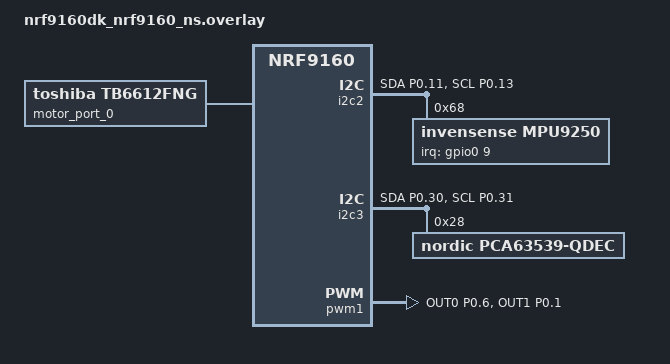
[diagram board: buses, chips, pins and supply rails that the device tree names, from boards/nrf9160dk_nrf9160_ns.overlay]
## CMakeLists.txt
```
# Copyright (c) 2022 Nordic Semiconductor
#
# SPDX-License-Identifier: LicenseRef-Nordic-5-Clause
#

cmake_minimum_required(VERSION 3.20.0)
set(BOARD nrf9160dk_nrf9160_ns)
set(APPLICATION_CONFIG_DIR "configuration/\${BOARD}")
find_package(Zephyr REQUIRED HINTS $ENV{ZEPHYR_BASE})
project("Balancing Robot")

# Application sources
# NORDIC SDK APP START
target_sources(app PRIVATE src/main.c)
# NORDIC SDK APP END

# Include application events and configuration headers
zephyr_library_include_directories(
  src/events
  src/util
  )

zephyr_include_directories(
  configuration/${BOARD}
  )
# Include source directory
target_include_directories(app PRIVATE src)

# Application directories
add_subdirectory(src/modules)
add_subdirectory(src/events)
add_subdirectory(src/util)
add_subdirectory(drivers)
```

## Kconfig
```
#
# Copyright (c) 2022 Nordic Semiconductor ASA
#
# SPDX-License-Identifier: LicenseRef-Nordic-5-Clause
#

menu "Balancing Robot"
rsource "src/modules/Kconfig"

rsource "src/events/Kconfig"

rsource "src/util/Kconfig"

rsource "drivers/Kconfig"
endmenu

menu "Zephyr Kernel"
source "Kconfig.zephyr"
endmenu

module = APPLICATION_MODULE
module-str = Application module
source "subsys/logging/Kconfig.template.log_config"
```

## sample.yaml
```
#
# Copyright (c) 2019 Nordic Semiconductor ASA
#
# SPDX-License-Identifier: Apache-2.0
#

sample:
  name: MPU6050 Sensor Sample
tests:
  sample.sensor.mpu6050:
    build_only: true
    platform_allow: nrf52dk_nrf52832
    tags: sensors
    integration_platforms:
      - nrf52dk_nrf52832
      - nrf9160dk_nrf9160_ns
```

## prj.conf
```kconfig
#
# Copyright (c) 2022 Nordic Semiconductor ASA
#
# SPDX-License-Identifier: Apache-2.0
#

# DEBUGGING
CONFIG_DEBUG=n
CONFIG_DEBUG_OPTIMIZATIONS=n

CONFIG_I2C=y
CONFIG_SENSOR=y
CONFIG_MPU9250=y
CONFIG_MPU9250_TRIGGER_NONE=y
CONFIG_CBPRINTF_FP_SUPPORT=y
# CONFIG_SENSOR_LOG_LEVEL_WRN=y

# Discrete Signal Processing Maths (for PID)
CONFIG_CMSIS_DSP=y
CONFIG_CMSIS_DSP_CONTROLLER=y

# PID Controller Tuning
CONFIG_PITCH_INTEGRATION_LIMITS=30
CONFIG_ANGLE_FAILSAFE_LIMIT=60
CONFIG_STATIC_SET_POINT_PITCH=-91
# CONFIG_KP_PITCH=4500
# CONFIG_KI_PITCH=10
# CONFIG_KD_PITCH=50

CONFIG_KP_SPEED=0
CONFIG_KI_SPEED=0
CONFIG_KD_SPEED=0

# zscilib (for orientation)
CONFIG_ZSL=y

CONFIG_NEWLIB_LIBC=y
CONFIG_FPU=y
#Set CONFIG_NEWLIB_LIBC_FLOAT_PRINTF if  printf should be able to print float
CONFIG_NEWLIB_LIBC_FLOAT_PRINTF=y

# Modules
CONFIG_IMU_MODULE=y

CONFIG_IMU_MESSAGE_FREQUENCY=10000
CONFIG_QDEC_MESSAGE_FREQUENCY=5000
CONFIG_QDEC_MODULE=y
# Motor driver
CONFIG_PWM=y
CONFIG_TB6612FNG=y
# CONFIG_SENSOR_LOG_LEVEL_DBG=y
# CONFIG_TB6612FNG_DRIVER_LOG_LEVEL_DBG=y
# CONFIG_TB6612FNG_MOTOR_DRIVER_LOG_LEVEL_DBG=y

CONFIG_QDEC_PCA63539=y
CONFIG_SENSOR=y
CONFIG_I2C=y

## Event manager configurations

# Enabling assert
CONFIG_ASSERT=y

# Logger configuration
CONFIG_LOG=y
CONFIG_LOG_DEFAULT_LEVEL=4
CONFIG_LOG_MODE_IMMEDIATE=y
# CONFIG_CONTROLLER_MODULE_LOG_LEVEL_DBG=y

# Configuration required by Event Manager
CONFIG_APP_EVENT_MANAGER=y
CONFIG_REBOOT=y

# Heap and stacks
CONFIG_HEAP_MEM_POOL_SIZE=32768
CONFIG_MAIN_STACK_SIZE=1280
CONFIG_SYSTEM_WORKQUEUE_STACK_SIZE=4096
CONFIG_HW_STACK_PROTECTION=y

# CAF - Common Application Framework
CONFIG_CAF=y
CONFIG_CAF_INIT_LOG_MODULE_STATE_EVENTS=n
```

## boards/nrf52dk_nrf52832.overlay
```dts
/*
 * Copyright (c) 2022 Nordic Semiconductor ASA
 *
 * SPDX-License-Identifier: Apache-2.0
 */

&i2c0 {
	mpu6050@68 {
		compatible = "invensense,mpu6050";
		reg = <0x68>;
		status = "okay";
		label = "MPU6050";
		int-gpios = <&gpio0 11 GPIO_ACTIVE_HIGH>;
	};
};
```

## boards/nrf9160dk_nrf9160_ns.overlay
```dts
/*
 * Copyright (c) 2022 Nordic Semiconductor ASA
 *
 * SPDX-License-Identifier: Apache-2.0
 */
 &spi3 {
	status = "disabled";
 };
 &button3 {
	status="disabled";
 };
 
 
&i2c2 {
	status = "okay";
	compatible = "nordic,nrf-twim";
	pinctrl-0 = <&i2c2_default_alt>;
	pinctrl-1 = <&i2c2_sleep_alt>;
	mpu9250: mpu9250@68 {
		compatible = "invensense,mpu9250";
		reg = <0x68>;
		label = "MPU9250";
		gyro-sr-div = <0>;
		// TODO: tune dlpfs
		gyro-dlpf = <10>;
		gyro-fs = <1000>;
		accel-fs = <8>;
		accel-dlpf = "21.2";
		irq-gpios = <&gpio0 9 GPIO_ACTIVE_HIGH>;
	};
};

&i2c3 {
	compatible = "nordic,nrf-twim";
	status = "okay";
	pinctrl-0 = <&i2c3_default_alt>;
	pinctrl-1 = <&i2c3_sleep_alt>;
	pinctrl-names = "default", "sleep";
	shield_qdec: pca63539-qdec@28 {
		compatible = "nordic,pca63539-qdec";
		label = "PCA63539-QDEC";
		reg = <0x28>;
	};
};

&pwm1 {
	status = "okay";
	pinctrl-0 = <&pwm1_default_alt>;
	pinctrl-1 = <&pwm1_sleep_alt>;
	pinctrl-names = "default", "sleep";
};

/ {
	aliases {
		accelerometer = &mpu9250;
		gyroscope = &mpu9250;
		magnetometer = &mpu9250;
		motora = &motor_0_a;
		motorb = &motor_0_b;
	};
	motor_port0: motor_port0{
		compatible = "toshiba,tb6612fng";
		status = "okay";
		label = "motor_port_0";

		motor_0_a: motor_a {
			compatible = "toshiba,tb6612fng-motor";
			status = "okay";
			label = "motorA";
			pwms = <&pwm1 0 PWM_MSEC(20) PWM_POLARITY_NORMAL>;
			input1-gpios = <&gpio0 4 0>;
			input2-gpios = <&gpio0 5 0>;
		};

		motor_0_b: motor_b {
			compatible = "toshiba,tb6612fng-motor";
			status = "okay";
			label = "motorB";
			pwms = <&pwm1 1 PWM_MSEC(20) PWM_POLARITY_NORMAL>;
			input1-gpios = <&gpio0 3 0>;
			input2-gpios = <&gpio0 2 0>;
		};
	};
};


&pinctrl {
	i2c2_default_alt: i2c2_default_alt {
		group1 {
			psels = <NRF_PSEL(TWIM_SDA, 0, 11)>,
					<NRF_PSEL(TWIM_SCL, 0, 13)>;
					bias-pull-up;
		};
	};
	i2c2_sleep_alt: i2c2_sleep_alt {
		group1 {
			psels = <NRF_PSEL(TWIM_SDA, 0, 11)>,
					<NRF_PSEL(TWIM_SCL, 0, 13)>;
					bias-pull-up;
		};
	};

	i2c3_default_alt: i2c3_default_alt {
		group1 {
			psels = <NRF_PSEL(TWIM_SDA, 0, 30)>,
					<NRF_PSEL(TWIM_SCL, 0, 31)>;
					bias-pull-up;
		};
	};

	i2c3_sleep_alt: i2c3_sleep_alt {
		group1 {
			psels = <NRF_PSEL(TWIM_SDA, 0, 30)>,
					<NRF_PSEL(TWIM_SCL, 0, 31)>;
					bias-pull-up;
		};
	};
	
	pwm1_default_alt: pwm1_default_alt {
		group1 {
			psels = <NRF_PSEL(PWM_OUT0, 0, 6)>,
					<NRF_PSEL(PWM_OUT1, 0, 1)>;
		};
	};
	pwm1_sleep_alt: pwm1_sleep_alt {
		group1 {
			psels = <NRF_PSEL(PWM_OUT0, 0, 6)>,
					<NRF_PSEL(PWM_OUT1, 0, 1)>;
			low-power-enable;
		};
	};
};
```

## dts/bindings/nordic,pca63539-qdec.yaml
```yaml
description: |
  Quadrature decoder on the pca63539 balancing robot shield.
compatible: "nordic,pca63539-qdec"

include: "i2c-device.yaml"
```

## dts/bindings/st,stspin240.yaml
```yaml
# Bindings for STMicroelectronics STSPIN240 dual brushed dc driver

compatible: "st,stspin240"
description: "Dual brushed DC motor driver"

include: "base.yaml"

properties:
  enable_fault-gpios: 
    type: phandle-array
    required: false
    description: "Enables the device when set high, indicates fault when pulled low by the driver IC"
  
  standby_reset-gpios:
    type: phandle-array
    required: false
    description: "Forces device into low consumption mode when forced low."
  
child-binding:
  compatible: "st,stspin240-motor"
  description: Brushed DC Motor driven by st,stspin240

  include: "base.yaml"

  properties:
    pwms:
      type: phandle-array
      required: true
      description: "Motor power pwm."
    
    phase-gpios:
      type: phandle-array
      required: true
      description: "Motor phase control pin. Used to set the direction of the motor."
```

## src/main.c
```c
/*
 * Copyright (c) 2022 Nordic Semiconductor ASA
 *
 * SPDX-License-Identifier: LicenseRef-Nordic-5-Clause
 */
#include <app_event_manager.h>

#define MODULE main
#include <caf/events/module_state_event.h>

#include <zephyr/logging/log.h>
LOG_MODULE_REGISTER(MODULE);

void main(void)
{
	if (app_event_manager_init())
	{
		LOG_ERR("Event manager not initialized");
	}
	else
	{
		module_set_state(MODULE_STATE_READY);
	}
}
```

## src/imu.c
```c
/*
 * Copyright (c) 2019 Nordic Semiconductor ASA
 *
 * SPDX-License-Identifier: Apache-2.0
 */

#include <zephyr.h>
#include <device.h>
#include <drivers/sensor.h>
#include <stdio.h>


// typedef struct
// {
// 	short gyro[3];
// 	short accel[3];
// 	long quat[4];
// 	float rpy[3];
// 	unsigned long timestamp;
// 	short sensors;
// 	unsigned char more;
// } FIFO_t;

static const char *now_str(void)
{
	static char buf[16]; /* ...HH:MM:SS.MMM */
	uint32_t now = k_uptime_get_32();
	unsigned int ms = now % MSEC_PER_SEC;
	unsigned int s;
	unsigned int min;
	unsigned int h;

	now /= MSEC_PER_SEC;
	s = now % 60U;
	now /= 60U;
	min = now % 60U;
	now /= 60U;
	h = now;

	snprintf(buf, sizeof(buf), "%u:%02u:%02u.%03u",
		 h, min, s, ms);
	return buf;
}

static int process_mpu9250(const struct device *dev)
{
	// struct sensor_value temperature;
	struct sensor_value accel[3];
	struct sensor_value gyro[3];
	struct sensor_value magn[3];

	int rc = sensor_sample_fetch(dev);
	if (rc != 0) {
		printf("Sample fetch failed: %d\n", rc);
		return rc;
	}
	rc = sensor_channel_get(dev, SENSOR_CHAN_ACCEL_XYZ,
							accel);
	if (rc != 0) {
		printf("sensor acc channel get failed: %d\n", rc);
		return rc;
	}

	rc = sensor_channel_get(dev, SENSOR_CHAN_GYRO_XYZ,
							gyro);
	if (rc != 0) {
		printf("sensor gyro channel get failed: %d\n", rc);
		return rc;
	}

	rc = sensor_channel_get(dev, SENSOR_CHAN_MAGN_XYZ,
							magn);
	if (rc != 0)
	{
		printf("sensor magn channel get failed: %d\n", rc);
		return rc;
	}

	// if (rc == 0) {
	// 	rc = sensor_channel_get(dev, SENSOR_CHAN_AMBIENT_TEMP,
	// 				&temperature);
	// }
	// if (rc != 0) {
	// 	printf("sensor temp channel get failed: %d\n", rc);
	// }
	if (rc == 0) {
		// printf("[%s]:%g Cel\n"
		//        "  accel %f %f %f m/s/s\n"
		//        "  gyro  %f %f %f rad/s\n",
		//        now_str(),
		//        sensor_value_to_double(&temperature),
		//        sensor_value_to_double(&accel[0]),
		//        sensor_value_to_double(&accel[1]),
		//        sensor_value_to_double(&accel[2]),
		//        sensor_value_to_double(&gyro[0]),
		//        sensor_value_to_double(&gyro[1]),
		//        sensor_value_to_double(&gyro[2]));
		printf("[%s]:\n"
			   " accel %f %f %f m/s/s\n"
			   " gyro  %f %f %f rad/s\n"
			   " magn  %f %f %f \n",
			   now_str(),
			   sensor_value_to_double(&accel[0]), sensor_value_to_double(&accel[1]),
			   sensor_value_to_double(&accel[2]), sensor_value_to_double(&gyro[0]),
			   sensor_value_to_double(&gyro[1]), sensor_value_to_double(&gyro[2])),
			   sensor_value_to_double(&magn[0]), sensor_value_to_double(&magn[1]),
			   sensor_value_to_double(&magn[2]);
	} else {
		printf("sample fetch/get failed: %d\n", rc);
	}

	return rc;
}

#ifdef CONFIG_MPU9250_TRIGGER
static struct sensor_trigger trigger;

static void handle_mpu9250_drdy(const struct device *dev,
				const struct sensor_trigger *trig)
{
	int rc = process_mpu9250(dev);

	if (rc != 0) {
		printf("cancelling trigger due to failure: %d\n", rc);
		(void)sensor_trigger_set(dev, trig, NULL);
		return;
	}
}
#endif /* CONFIG_MPU9250_TRIGGER */

void main(void)
{
	const char *const label = DT_LABEL(DT_NODELABEL(mpu9250));
	// const char *const label = DT_LABEL(DT_INST(0, invensense_mpu6050)); // From old sample
	k_sleep(K_SECONDS(2)); // Wait for MPU9250 to initialize
	const struct device *mpu9250 = device_get_binding(label);

	if (!mpu9250) {
		printf("Failed to find sensor %s\n", label);
		return;
	}

#ifdef CONFIG_MPU9250_TRIGGER
	trigger = (struct sensor_trigger) {
		.type = SENSOR_TRIG_DATA_READY,
		.chan = SENSOR_CHAN_ALL,
	};
	if (sensor_trigger_set(mpu9250, &trigger,
			       handle_mpu9250_drdy) < 0) {
		printf("Cannot configure trigger\n");
		return;
	}
	printk("Configured for triggered sampling.\n");
#endif

	while (!IS_ENABLED(CONFIG_MPU9250_TRIGGER)) {
		int rc = process_mpu9250(mpu9250);

		if (rc != 0) {
			break;
		}
		k_sleep(K_SECONDS(2));
	}

	/* triggered runs with its own thread after exit */
}
```
